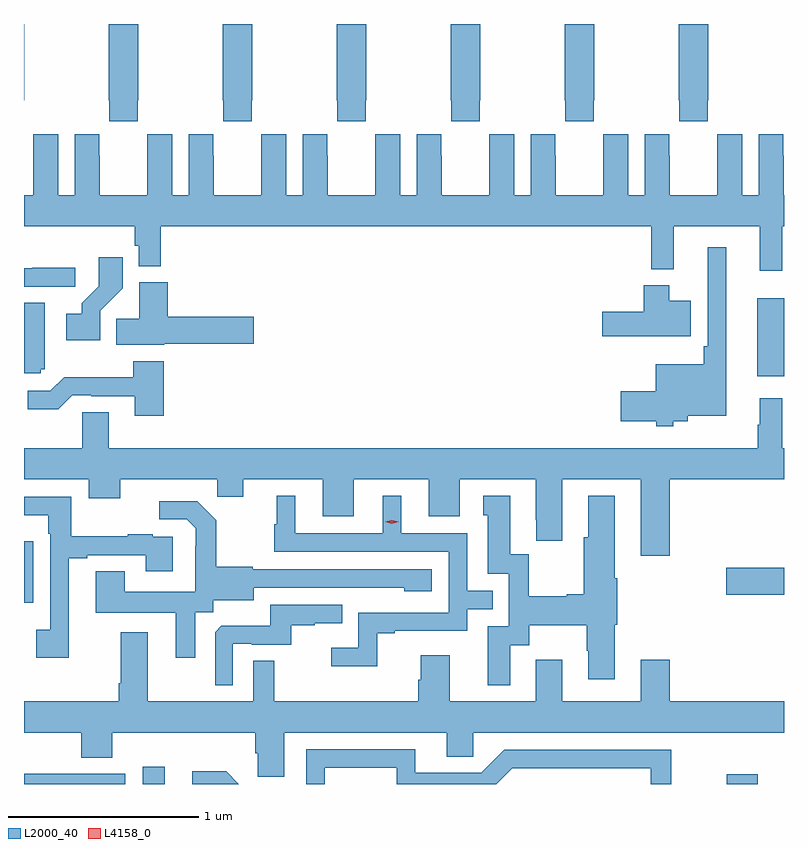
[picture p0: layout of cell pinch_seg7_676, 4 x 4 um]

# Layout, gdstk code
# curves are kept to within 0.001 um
import gdstk
lib = gdstk.Library(unit=1e-6, precision=1e-09)
def R(c, l, rs):  # rectangles x0, y0, x1, y1
    for r in rs: c.add(gdstk.rectangle(r[:2], r[2:], *l))
def P(c, l, *ps):  # polygons
    for p in ps: c.add(gdstk.Polygon(p, *l))
L2000_40 = (2000, 40)
L4158_0 = (4158, 0)

pinch_seg7_676 = lib.new_cell('pinch_seg7_676')
R(pinch_seg7_676, L2000_40, [(290.802,1003.009,290.917,1003.099), (293.875,1003.009,294.04,1003.06), (290.177,1003.962,290.226,1004.287), (293.874,1004.006,294.177,1004.148), (294.035,1005.155,294.177,1005.565), (290.177,1006.609,290.178,1007.009)])
P(pinch_seg7_676, L2000_40, [(292.575,1006.609),(292.578,1006.609),(292.578,1007.009),(292.423,1007.009),(292.423,1006.609),(292.425,1006.609),(292.425,1006.497),(292.575,1006.497)],
  [(291.823,1006.609),(291.825,1006.609),(291.825,1006.497),(291.975,1006.497),(291.975,1006.609),(291.978,1006.609),(291.978,1007.009),(291.823,1007.009)],
  [(291.375,1006.609),(291.378,1006.609),(291.378,1007.009),(291.223,1007.009),(291.223,1006.609),(291.225,1006.609),(291.225,1006.497),(291.375,1006.497)],
  [(290.775,1006.609),(290.778,1006.609),(290.778,1007.009),(290.623,1007.009),(290.623,1006.609),(290.625,1006.609),(290.625,1006.497),(290.775,1006.497)],
  [(293.775,1006.609),(293.778,1006.609),(293.778,1007.009),(293.623,1007.009),(293.623,1006.609),(293.625,1006.609),(293.625,1006.497),(293.775,1006.497)],
  [(293.175,1006.609),(293.178,1006.609),(293.178,1007.009),(293.023,1007.009),(293.023,1006.609),(293.025,1006.609),(293.025,1006.497),(293.175,1006.497)],
  [(294.167,1005.944),(294.177,1005.944),(294.177,1006.108),(294.175,1006.108),(294.175,1006.316),(294.174,1006.316),(294.174,1006.429),(294.044,1006.429),(294.044,1006.108),(293.956,1006.108),(293.956,1006.429),(293.826,1006.429),(293.826,1006.316),(293.825,1006.316),(293.825,1006.108),(293.575,1006.108),(293.575,1006.316),(293.574,1006.316),(293.574,1006.429),(293.444,1006.429),(293.444,1006.108),(293.356,1006.108),(293.356,1006.429),(293.226,1006.429),(293.226,1006.316),(293.225,1006.316),(293.225,1006.108),(292.975,1006.108),(292.975,1006.316),(292.974,1006.316),(292.974,1006.429),(292.844,1006.429),(292.844,1006.108),(292.756,1006.108),(292.756,1006.429),(292.626,1006.429),(292.626,1006.316),(292.625,1006.316),(292.625,1006.108),(292.375,1006.108),(292.375,1006.316),(292.374,1006.316),(292.374,1006.429),(292.244,1006.429),(292.244,1006.108),(292.156,1006.108),(292.156,1006.429),(292.026,1006.429),(292.026,1006.316),(292.025,1006.316),(292.025,1006.108),(291.775,1006.108),(291.775,1006.316),(291.774,1006.316),(291.774,1006.429),(291.644,1006.429),(291.644,1006.108),(291.556,1006.108),(291.556,1006.429),(291.426,1006.429),(291.426,1006.316),(291.425,1006.316),(291.425,1006.108),(291.175,1006.108),(291.175,1006.316),(291.174,1006.316),(291.174,1006.429),(291.044,1006.429),(291.044,1006.108),(290.956,1006.108),(290.956,1006.429),(290.826,1006.429),(290.826,1006.316),(290.825,1006.316),(290.825,1006.108),(290.575,1006.108),(290.575,1006.316),(290.574,1006.316),(290.574,1006.429),(290.444,1006.429),(290.444,1006.108),(290.356,1006.108),(290.356,1006.429),(290.226,1006.429),(290.226,1006.316),(290.225,1006.316),(290.225,1006.108),(290.177,1006.108),(290.177,1005.944),(290.761,1005.944),(290.761,1005.843),(290.781,1005.843),(290.781,1005.734),(290.897,1005.734),(290.897,1005.944),(293.479,1005.944),(293.479,1005.719),(293.597,1005.719),(293.597,1005.944),(294.05,1005.944),(294.05,1005.711),(294.167,1005.711)],
  [(293.595,1004.918),(293.671,1004.918),(293.671,1004.948),(293.872,1004.948),(293.872,1005.835),(293.775,1005.835),(293.775,1005.313),(293.755,1005.313),(293.755,1005.217),(293.501,1005.217),(293.501,1005.076),(293.319,1005.076),(293.319,1004.918),(293.505,1004.918),(293.505,1004.891),(293.595,1004.891)],
  [(290.577,1005.499),(290.696,1005.618),(290.696,1005.781),(290.571,1005.781),(290.571,1005.629),(290.48,1005.539),(290.48,1005.484),(290.4,1005.484),(290.4,1005.344),(290.577,1005.344)],
  [(290.446,1005.726),(290.221,1005.726),(290.221,1005.723),(290.177,1005.723),(290.177,1005.627),(290.446,1005.627)],
  [(290.916,1005.326),(291.385,1005.326),(291.385,1005.468),(290.933,1005.468),(290.933,1005.649),(290.783,1005.649),(290.783,1005.458),(290.662,1005.458),(290.662,1005.32),(290.916,1005.32)],
  [(293.686,1005.553),(293.572,1005.553),(293.572,1005.634),(293.438,1005.634),(293.438,1005.495),(293.22,1005.495),(293.22,1005.365),(293.686,1005.365)],
  [(290.265,1005.192),(290.287,1005.192),(290.287,1005.541),(290.177,1005.541),(290.177,1005.171),(290.265,1005.171)],
  [(290.912,1005.235),(290.752,1005.235),(290.752,1005.151),(290.389,1005.151),(290.316,1005.078),(290.196,1005.078),(290.196,1004.981),(290.357,1004.981),(290.43,1005.054),(290.53,1005.054),(290.53,1005.051),(290.759,1005.051),(290.759,1004.946),(290.912,1004.946)],
  [(290.623,1004.966),(290.484,1004.966),(290.484,1004.776),(290.177,1004.776),(290.177,1004.612),(290.519,1004.612),(290.519,1004.513),(290.683,1004.513),(290.683,1004.612),(291.193,1004.612),(291.193,1004.522),(291.331,1004.522),(291.331,1004.612),(291.749,1004.612),(291.749,1004.418),(291.913,1004.418),(291.913,1004.612),(292.307,1004.612),(292.307,1004.418),(292.471,1004.418),(292.471,1004.612),(292.871,1004.612),(292.871,1004.401),(292.874,1004.401),(292.874,1004.289),(293.011,1004.289),(293.011,1004.612),(293.423,1004.612),(293.423,1004.211),(293.576,1004.211),(293.576,1004.612),(294.177,1004.612),(294.177,1004.776),(294.167,1004.776),(294.167,1005.04),(294.05,1005.04),(294.05,1004.9),(294.039,1004.9),(294.039,1004.776),(290.623,1004.776)],
  [(292.735,1003.738),(292.837,1003.738),(292.837,1003.844),(293.14,1003.844),(293.14,1003.71),(293.147,1003.71),(293.147,1003.56),(293.287,1003.56),(293.287,1003.848),(293.3,1003.848),(293.3,1004.092),(293.287,1004.092),(293.287,1004.527),(293.147,1004.527),(293.147,1004.307),(293.122,1004.307),(293.122,1004.009),(293.033,1004.009),(293.033,1003.996),(292.833,1003.996),(292.833,1004.219),(292.735,1004.219),(292.735,1004.527),(292.595,1004.527),(292.595,1004.424),(292.619,1004.424),(292.619,1004.115),(292.728,1004.115),(292.728,1003.839),(292.619,1003.839),(292.619,1003.53),(292.735,1003.53)],
  [(292.035,1003.803),(292.129,1003.803),(292.129,1003.815),(292.509,1003.815),(292.509,1003.929),(292.643,1003.929),(292.643,1004.025),(292.509,1004.025),(292.509,1004.328),(292.162,1004.328),(292.162,1004.527),(292.064,1004.527),(292.064,1004.328),(291.604,1004.328),(291.604,1004.527),(291.506,1004.527),(291.506,1004.376),(291.495,1004.376),(291.495,1004.232),(292.413,1004.232),(292.413,1003.911),(291.936,1003.911),(291.936,1003.726),(291.795,1003.726),(291.795,1003.628),(292.035,1003.628)],
  [(290.413,1004.196),(290.509,1004.196),(290.509,1004.214),(290.819,1004.214),(290.819,1004.13),(290.959,1004.13),(290.959,1004.31),(290.855,1004.31),(290.855,1004.323),(290.723,1004.323),(290.723,1004.312),(290.425,1004.312),(290.425,1004.52),(290.177,1004.52),(290.177,1004.423),(290.304,1004.423),(290.304,1004.327),(290.316,1004.327),(290.316,1003.822),(290.241,1003.822),(290.241,1003.674),(290.413,1003.674)],
  [(291.079,1003.912),(291.174,1003.912),(291.174,1003.976),(291.385,1003.976),(291.385,1004.043),(292.179,1004.042),(292.179,1004.024),(292.324,1004.024),(292.324,1004.139),(291.381,1004.139),(291.381,1004.152),(291.189,1004.152),(291.189,1004.397),(291.089,1004.497),(290.889,1004.497),(290.889,1004.403),(291.033,1004.403),(291.08,1004.356),(291.08,1004.261),(291.078,1004.261),(291.078,1004.02),(290.707,1004.02),(290.707,1004.129),(290.555,1004.129),(290.555,1003.91),(290.975,1003.91),(290.975,1003.674),(291.079,1003.674)],
  [(291.276,1003.746),(291.376,1003.746),(291.376,1003.743),(291.584,1003.743),(291.584,1003.845),(291.707,1003.845),(291.707,1003.856),(291.851,1003.856),(291.851,1003.953),(291.474,1003.953),(291.474,1003.841),(291.215,1003.841),(291.183,1003.809),(291.183,1003.529),(291.276,1003.529)],
  [(291.547,1003.28),(292.403,1003.28),(292.403,1003.153),(292.542,1003.153),(292.542,1003.28),(294.177,1003.28),(294.177,1003.444),(293.576,1003.444),(293.576,1003.663),(293.423,1003.663),(293.423,1003.444),(293.011,1003.444),(293.011,1003.663),(292.871,1003.663),(292.871,1003.444),(292.417,1003.444),(292.417,1003.687),(292.265,1003.687),(292.265,1003.557),(292.253,1003.557),(292.253,1003.444),(291.493,1003.444),(291.493,1003.658),(291.384,1003.658),(291.384,1003.444),(290.827,1003.444),(290.827,1003.807),(290.687,1003.807),(290.687,1003.54),(290.675,1003.54),(290.675,1003.444),(290.177,1003.444),(290.177,1003.28),(290.477,1003.28),(290.477,1003.147),(290.642,1003.147),(290.642,1003.28),(291.395,1003.28),(291.395,1003.171),(291.408,1003.171),(291.408,1003.048),(291.547,1003.048)],
  [(291.759,1003.095),(292.14,1003.095),(292.14,1003.009),(292.663,1003.009),(292.746,1003.092),(293.475,1003.092),(293.475,1003.009),(293.584,1003.009),(293.584,1003.188),(292.704,1003.188),(292.584,1003.068),(292.237,1003.068),(292.237,1003.191),(291.663,1003.191),(291.663,1003.009),(291.759,1003.009)],
  [(291.241,1003.076),(291.063,1003.076),(291.063,1003.009),(291.308,1003.009)],
  [(290.709,1003.062),(290.393,1003.062),(290.393,1003.064),(290.177,1003.064),(290.177,1003.009),(290.709,1003.009)])
P(pinch_seg7_676, L4158_0, [(292.113,1004.378),(292.077,1004.388),(292.077,1004.388),(292.077,1004.389),(292.113,1004.398),(292.149,1004.389),(292.149,1004.388),(292.149,1004.388)])

lib.write_gds('pinch_seg7_676.gds')
